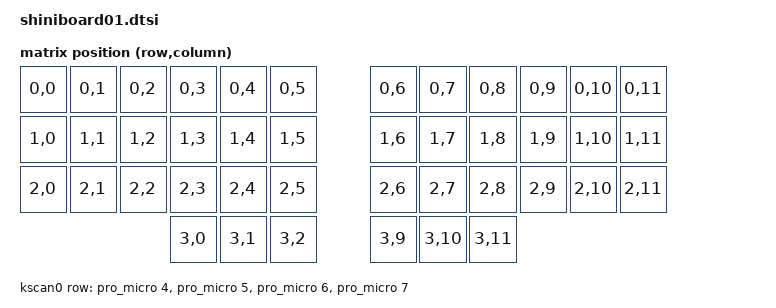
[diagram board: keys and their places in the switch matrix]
/*
 * Copyright (c) 2020 The ZMK Contributors
 *
 * SPDX-License-Identifier: MIT
 */

#include <dt-bindings/zmk/matrix_transform.h>

/ {
    chosen {
        zmk,kscan = &kscan0;
        zmk,matrix-transform = &default_transform;
    };

    default_transform: keymap_transform_0 {
        compatible = "zmk,matrix-transform";
        columns = <12>;
        rows = <4>;
        map = <
RC(0,0) RC(0,1) RC(0,2) RC(0,3) RC(0,4) RC(0,5) RC(0,6) RC(0,7) RC(0,8) RC(0,9) RC(0,10) RC(0,11)  
RC(1,0) RC(1,1) RC(1,2) RC(1,3) RC(1,4) RC(1,5) RC(1,6) RC(1,7) RC(1,8) RC(1,9) RC(1,10) RC(1,11)  
RC(2,0) RC(2,1) RC(2,2) RC(2,3) RC(2,4) RC(2,5) RC(2,6) RC(2,7) RC(2,8) RC(2,9) RC(2,10) RC(2,11)  
RC(3,0) RC(3,1) RC(3,2)                                                 RC(3,9) RC(3,10) RC(3,11)  
        >;
    };

    kscan0: kscan {
        compatible = "zmk,kscan-gpio-matrix";
        wakeup-source;

        diode-direction = "col2row";
        row-gpios
            = <&pro_micro 4 (GPIO_ACTIVE_HIGH | GPIO_PULL_DOWN)>
            , <&pro_micro 5 (GPIO_ACTIVE_HIGH | GPIO_PULL_DOWN)>
            , <&pro_micro 6 (GPIO_ACTIVE_HIGH | GPIO_PULL_DOWN)>
            , <&pro_micro 7 (GPIO_ACTIVE_HIGH | GPIO_PULL_DOWN)>
            ;

    };
};


// In this case, we added a cirque trackpad using the pro micro position i2c pins and a hand wired data ready pin
&pro_micro_i2c {
    status = "okay";
    
    glidepoint: glidepoint@2a {
        compatible = "cirque,pinnacle";
        reg = <0x2a>;
        status = "okay";
        // The aforementioned LED data pin that we're not using, hand wired to cirque DR
        dr-gpios = <&gpio0 15 (GPIO_ACTIVE_HIGH)>;

        sensitivity = "4x";
        sleep;
        no-taps;
    };
};

/ {
    glidepoint_input {
        compatible = "zmk,input-listener";
        device = <&glidepoint>;

        xy-swap;
        y-invert;
        x-invert;
    };
};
